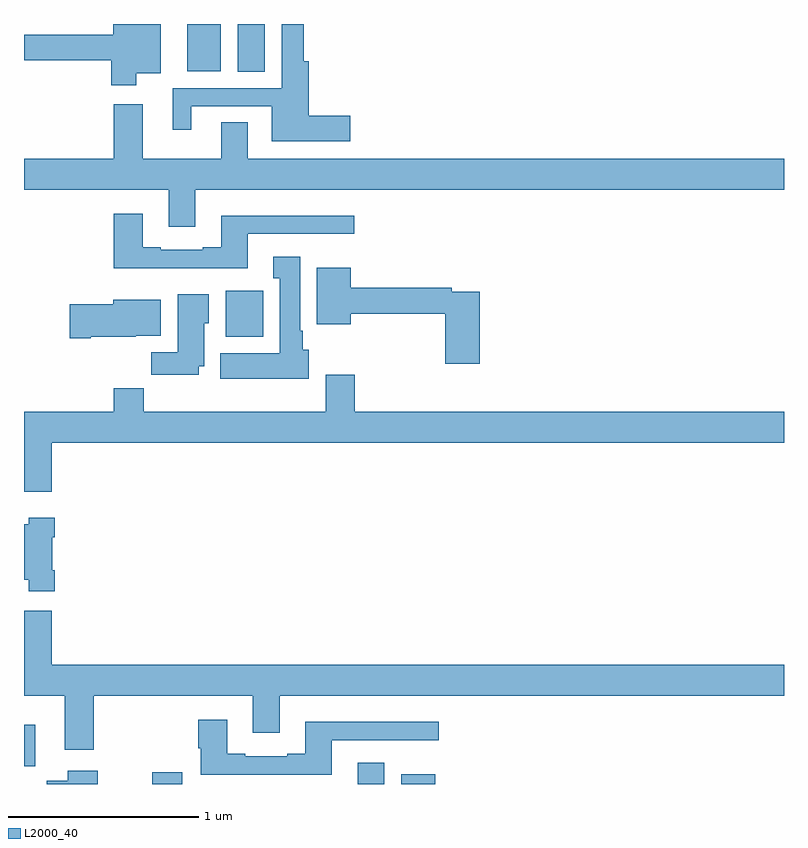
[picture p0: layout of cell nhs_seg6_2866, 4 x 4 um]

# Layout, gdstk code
import gdstk
lib = gdstk.Library(unit=1e-6, precision=1e-09)
def R(c, l, rs):  # rectangles x0, y0, x1, y1
    for r in rs: c.add(gdstk.rectangle(r[:2], r[2:], *l))
def P(c, l, *ps):  # polygons
    for p in ps: c.add(gdstk.Polygon(p, *l))
L2000_40 = (2000, 40)

nhs_seg6_2866 = lib.new_cell('nhs_seg6_2866')
R(nhs_seg6_2866, L2000_40, [(279.674,985.5,279.832,985.561), (280.757,985.5,280.897,985.612), (280.985,985.5,281.164,985.552), (279,985.593,279.058,985.813), (280.061,987.854,280.258,988.096), (280.124,989.248,280.267,989.5), (279.86,989.252,280.036,989.5)])
P(nhs_seg6_2866, L2000_40, [(279.592,989.24),(279.721,989.24),(279.721,989.5),(279.47,989.5),(279.47,989.444),(279,989.444),(279,989.308),(279.458,989.308),(279.458,989.178),(279.592,989.178)],
  [(280.717,989.018),(280.499,989.018),(280.499,989.305),(280.472,989.305),(280.472,989.5),(280.356,989.5),(280.356,989.163),(279.782,989.163),(279.782,988.944),(279.88,988.944),(279.88,989.067),(280.304,989.067),(280.304,988.883),(280.717,988.883)],
  [(279.901,988.628),(283,988.628),(283,988.792),(280.177,988.792),(280.177,988.982),(280.037,988.982),(280.037,988.792),(279.625,988.792),(279.625,989.077),(279.473,989.077),(279.473,988.792),(279,988.792),(279,988.628),(279.761,988.628),(279.761,988.434),(279.901,988.434)],
  [(280.177,988.395),(280.738,988.395),(280.738,988.492),(280.037,988.492),(280.037,988.324),(279.941,988.324),(279.941,988.311),(279.721,988.311),(279.721,988.324),(279.625,988.324),(279.625,988.501),(279.473,988.501),(279.473,988.214),(280.177,988.214)],
  [(280.498,987.786),(280.468,987.786),(280.468,987.886),(280.453,987.886),(280.453,988.276),(280.313,988.276),(280.313,988.163),(280.346,988.163),(280.346,987.766),(280.034,987.766),(280.034,987.632),(280.498,987.632)],
  [(281.399,988.092),(281.252,988.092),(281.252,988.112),(280.72,988.112),(280.72,988.216),(280.541,988.216),(280.541,987.92),(280.72,987.92),(280.72,987.976),(281.216,987.976),(281.216,987.711),(281.399,987.711)],
  [(279.919,987.698),(279.949,987.698),(279.949,987.924),(279.973,987.924),(279.973,988.078),(279.809,988.078),(279.809,987.772),(279.67,987.772),(279.67,987.654),(279.919,987.654)],
  [(279.352,987.854),(279.588,987.854),(279.588,987.86),(279.721,987.86),(279.721,988.048),(279.47,988.048),(279.47,988.025),(279.24,988.025),(279.24,987.847),(279.352,987.847)],
  [(279.146,987.296),(283,987.296),(283,987.46),(280.742,987.46),(280.742,987.655),(280.589,987.655),(280.589,987.46),(279.629,987.46),(279.629,987.584),(279.473,987.584),(279.473,987.46),(279,987.46),(279,987.039),(279.146,987.039)],
  [(279.161,986.626),(279.148,986.626),(279.148,986.798),(279.161,986.798),(279.161,986.902),(279.026,986.902),(279.026,986.866),(279,986.866),(279,986.576),(279.026,986.576),(279.026,986.514),(279.161,986.514)],
  [(279.368,985.964),(280.205,985.964),(280.205,985.77),(280.345,985.77),(280.345,985.964),(283,985.964),(283,986.128),(279.146,986.128),(279.146,986.413),(279,986.413),(279,985.964),(279.215,985.964),(279.215,985.68),(279.368,985.68)],
  [(280.621,985.731),(281.182,985.731),(281.182,985.828),(280.481,985.828),(280.481,985.66),(280.385,985.66),(280.385,985.647),(280.165,985.647),(280.165,985.66),(280.069,985.66),(280.069,985.837),(279.917,985.837),(279.917,985.689),(279.929,985.689),(279.929,985.55),(280.621,985.55)],
  [(279.388,985.57),(279.23,985.57),(279.23,985.516),(279.119,985.516),(279.119,985.5),(279.388,985.5)])

lib.write_gds('nhs_seg6_2866.gds')
